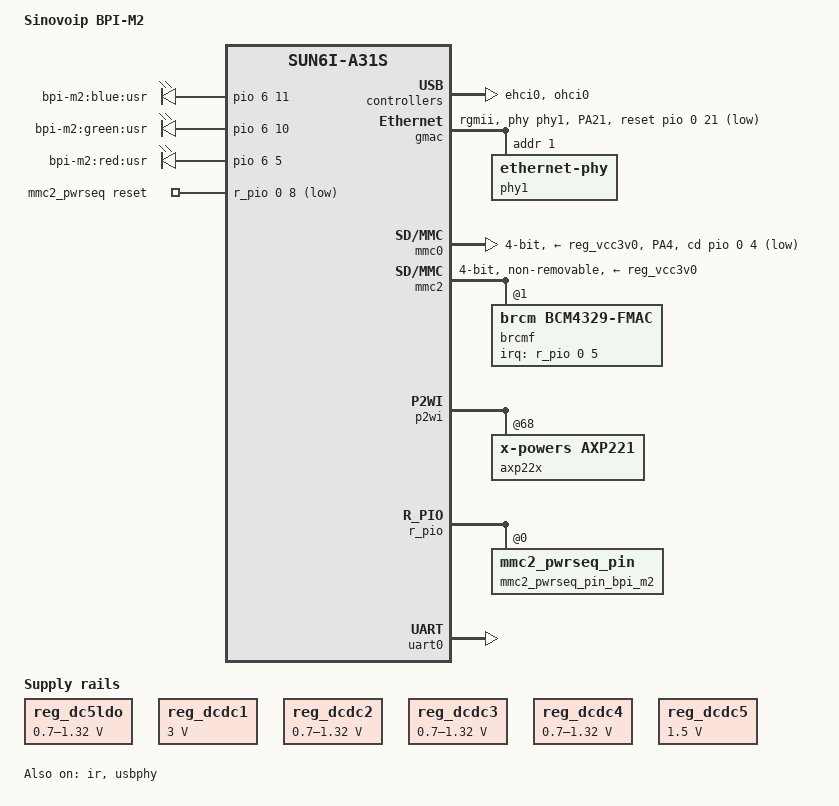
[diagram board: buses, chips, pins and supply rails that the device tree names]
/*
 * Copyright 2015 Hans de Goede <hdegoede@redhat.com>
 *
 * This file is dual-licensed: you can use it either under the terms
 * of the GPL or the X11 license, at your option. Note that this dual
 * licensing only applies to this file, and not this project as a
 * whole.
 *
 *  a) This library is free software; you can redistribute it and/or
 *     modify it under the terms of the GNU General Public License as
 *     published by the Free Software Foundation; either version 2 of the
 *     License, or (at your option) any later version.
 *
 *     This library is distributed in the hope that it will be useful,
 *     but WITHOUT ANY WARRANTY; without even the implied warranty of
 *     MERCHANTABILITY or FITNESS FOR A PARTICULAR PURPOSE.  See the
 *     GNU General Public License for more details.
 *
 * Or, alternatively,
 *
 *  b) Permission is hereby granted, free of charge, to any person
 *     obtaining a copy of this software and associated documentation
 *     files (the "Software"), to deal in the Software without
 *     restriction, including without limitation the rights to use,
 *     copy, modify, merge, publish, distribute, sublicense, and/or
 *     sell copies of the Software, and to permit persons to whom the
 *     Software is furnished to do so, subject to the following
 *     conditions:
 *
 *     The above copyright notice and this permission notice shall be
 *     included in all copies or substantial portions of the Software.
 *
 *     THE SOFTWARE IS PROVIDED "AS IS", WITHOUT WARRANTY OF ANY KIND,
 *     EXPRESS OR IMPLIED, INCLUDING BUT NOT LIMITED TO THE WARRANTIES
 *     OF MERCHANTABILITY, FITNESS FOR A PARTICULAR PURPOSE AND
 *     NONINFRINGEMENT. IN NO EVENT SHALL THE AUTHORS OR COPYRIGHT
 *     HOLDERS BE LIABLE FOR ANY CLAIM, DAMAGES OR OTHER LIABILITY,
 *     WHETHER IN AN ACTION OF CONTRACT, TORT OR OTHERWISE, ARISING
 *     FROM, OUT OF OR IN CONNECTION WITH THE SOFTWARE OR THE USE OR
 *     OTHER DEALINGS IN THE SOFTWARE.
 */

/dts-v1/;
#include "sun6i-a31s.dtsi"
#include "sunxi-common-regulators.dtsi"
#include <dt-bindings/gpio/gpio.h>

/ {
	model = "Sinovoip BPI-M2";
	compatible = "sinovoip,bpi-m2", "allwinner,sun6i-a31s";

	aliases {
		serial0 = &uart0;
	};

	chosen {
		stdout-path = "serial0:115200n8";
	};

	leds {
		compatible = "gpio-leds";
		pinctrl-names = "default";
		pinctrl-0 = <&led_pins_bpi_m2>;

		blue {
			label = "bpi-m2:blue:usr";
			gpios = <&pio 6 11 GPIO_ACTIVE_HIGH>; /* PG11 */
		};

		green {
			label = "bpi-m2:green:usr";
			gpios = <&pio 6 10 GPIO_ACTIVE_HIGH>; /* PG10 */
		};

		red {
			label = "bpi-m2:red:usr";
			gpios = <&pio 6 5 GPIO_ACTIVE_HIGH>; /* PG5 */
		};
	};

	mmc2_pwrseq: mmc2_pwrseq {
		compatible = "mmc-pwrseq-simple";
		pinctrl-names = "default";
		pinctrl-0 = <&mmc2_pwrseq_pin_bpi_m2>;
		reset-gpios = <&r_pio 0 8 GPIO_ACTIVE_LOW>; /* PL8 WIFI_EN */
	};
};

&cpu0 {
	cpu-supply = <&reg_dcdc3>;
};

&ehci0 {
	status = "okay";
};

&gmac {
	pinctrl-names = "default";
	pinctrl-0 = <&gmac_pins_rgmii_a>, <&gmac_phy_reset_pin_bpi_m2>;
	phy = <&phy1>;
	phy-mode = "rgmii";
	snps,reset-gpio = <&pio 0 21 GPIO_ACTIVE_HIGH>; /* PA21 */
	snps,reset-active-low;
	snps,reset-delays-us = <0 10000 30000>;
	status = "okay";

	phy1: ethernet-phy@1 {
		reg = <1>;
	};
};

&ir {
	pinctrl-names = "default";
	pinctrl-0 = <&ir_pins_a>;
	status = "okay";
};

&mmc0 {
	pinctrl-names = "default";
	pinctrl-0 = <&mmc0_pins_a>, <&mmc0_cd_pin_bpi_m2>;
	vmmc-supply = <&reg_vcc3v0>;
	bus-width = <4>;
	cd-gpios = <&pio 0 4 GPIO_ACTIVE_LOW>; /* PA4 */
	status = "okay";
};

&mmc0_pins_a {
	bias-pull-up;
};

&mmc2 {
	pinctrl-names = "default";
	pinctrl-0 = <&mmc2_pins_a>;
	vmmc-supply = <&reg_vcc3v0>;
	mmc-pwrseq = <&mmc2_pwrseq>;
	bus-width = <4>;
	non-removable;
	status = "okay";

	brcmf: wifi@1 {
		reg = <1>;
		compatible = "brcm,bcm4329-fmac";
		interrupt-parent = <&r_pio>;
		interrupts = <0 5 IRQ_TYPE_LEVEL_LOW>; /* PL5 */
		interrupt-names = "host-wake";
	};
};

&mmc2_pins_a {
	bias-pull-up;
};

&ohci0 {
	status = "okay";
};

&p2wi {
	status = "okay";

	axp22x: pmic@68 {
		compatible = "x-powers,axp221";
		reg = <0x68>;
		interrupt-parent = <&nmi_intc>;
		interrupts = <0 IRQ_TYPE_LEVEL_LOW>;
	};
};

&pio {
	gmac_phy_reset_pin_bpi_m2: gmac_phy_reset_pin@0 {
		pins = "PA21";
		function = "gpio_out";
	};

	led_pins_bpi_m2: led_pins@0 {
		pins = "PG5", "PG10", "PG11";
		function = "gpio_out";
	};

	mmc0_cd_pin_bpi_m2: mmc0_cd_pin@0 {
		pins = "PA4";
		function = "gpio_in";
		bias-pull-up;
	};
};

&r_pio {
	mmc2_pwrseq_pin_bpi_m2: mmc2_pwrseq_pin@0 {
		pins = "PL8";
		function = "gpio_out";
	};
};

#include "axp22x.dtsi"

&reg_dc5ldo {
	regulator-min-microvolt = <700000>;
	regulator-max-microvolt = <1320000>;
	regulator-name = "vdd-cpus";
};

&reg_dcdc1 {
	regulator-always-on;
	regulator-min-microvolt = <3000000>;
	regulator-max-microvolt = <3000000>;
	regulator-name = "vdd-3v0";
};

&reg_dcdc2 {
	regulator-min-microvolt = <700000>;
	regulator-max-microvolt = <1320000>;
	regulator-name = "vdd-gpu";
};

&reg_dcdc3 {
	regulator-always-on;
	regulator-min-microvolt = <700000>;
	regulator-max-microvolt = <1320000>;
	regulator-name = "vdd-cpu";
};

&reg_dcdc4 {
	regulator-always-on;
	regulator-min-microvolt = <700000>;
	regulator-max-microvolt = <1320000>;
	regulator-name = "vdd-sys-dll";
};

&reg_dcdc5 {
	regulator-always-on;
	regulator-min-microvolt = <1500000>;
	regulator-max-microvolt = <1500000>;
	regulator-name = "vcc-dram";
};

&uart0 {
	pinctrl-names = "default";
	pinctrl-0 = <&uart0_pins_a>;
	status = "okay";
};

&usbphy {
	status = "okay";
};
